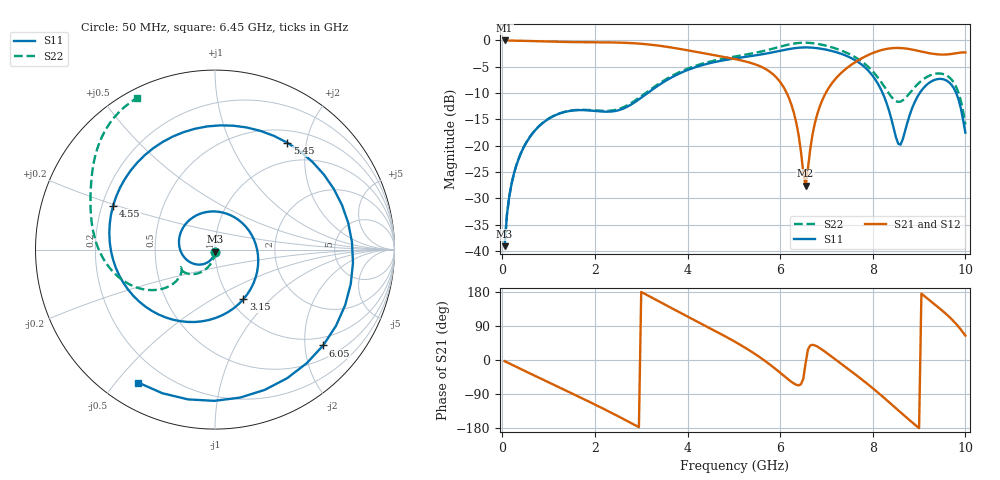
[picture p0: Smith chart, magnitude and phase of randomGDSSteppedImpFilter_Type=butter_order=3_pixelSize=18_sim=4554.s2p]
! freq	dB(S11)	phase(S11)	dB(S12)	phase(S12)
!  dB(S21)	phase(S21)	dB(S22)	phase(S22)
!S-par simulation data
#  GHz  S  DB  R 50
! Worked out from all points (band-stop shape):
!   200 points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, 50 MHz to 10 GHz, reference 50 ohm
!   highest |S21| = -0.01 dB at 50 MHz (marker M1); lowest = -27.6 dB at 6.55 GHz (marker M2)
!   |S21| within 3 dB of the highest: start of sweep to 4.704 GHz; 7.847 GHz to end of sweep
!   lowest |S11| = -39.1 dB at 50 MHz (marker M3), VSWR 1.02, Z = 49.9 - j1.11 ohm
!   |S11| at or under -10 dB: start of sweep to 3.138 GHz; 8.212 GHz to 9.015 GHz (802.5 MHz wide, 9.32 % of centre); 9.802 GHz to end of sweep
!   |S22| runs from -39.1 to -0.4 dB; largest |S21 - S12| = 0
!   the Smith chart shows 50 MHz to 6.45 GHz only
!   S11 on the Smith chart (normalised r, x): 50 MHz: 1.00, -0.02; 3.15 GHz: 1.14, -0.71; 4.55 GHz: 0.25, +0.19; 5.45 GHz: 0.68, +1.68; 6.05 GHz: 0.79, -2.41; 6.45 GHz: 0.10, -0.57
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0.05  -39.11 -92.8  -0.01 -3.0  -0.01 -3.0  -39.09 -91.1
0.2  -27.26 -105.3  -0.03 -12.0  -0.03 -12.0  -27.24 -98.5
0.5  -19.70 -128.7  -0.09 -29.7  -0.09 -29.7  -19.67 -111.5
1.75  -13.25 124.7  -0.34 -102.6  -0.34 -102.6  -13.19 -150.9
2.55  -13.16 22.3  -0.42 -151.5  -0.42 -151.5  -12.93 -146.1
3.15  -9.92 -60.4  -0.76 169.7  -0.76 169.7  -9.64 -141.5
3.4  -8.39 -89.4  -1.02 153.4  -1.02 153.4  -8.12 -145.2
4.55  -4.18 156.7  -2.76 79.6  -2.76 79.6  -3.89 -178.3
5.05  -3.38 105.0  -3.59 46.3  -3.59 46.3  -3.02 166.9
5.45  -2.87 55.9  -4.51 16.5  -4.51 16.5  -2.37 155.6
5.8  -2.33 3.0  -6.10 -14.0  -6.10 -14.0  -1.66 145.2
6.05  -1.88 -41.6  -8.54 -38.6  -8.54 -38.6  -1.07 136.1
6.45  -1.36 -120.0  -21.17 -64.0  -21.17 -64.0  -0.45 117.4
6.55  -1.33 -139.3  -27.63 -8.0  -27.63 -8.0  -0.43 112.2
6.7  -1.38 -167.1  -17.82 40.1  -17.82 40.1  -0.52 104.4
7.3  -2.49 97.7  -6.33 -8.3  -6.33 -8.3  -1.85 74.9
7.8  -4.89 29.1  -3.22 -54.8  -3.22 -54.8  -4.26 51.8
8.35  -13.32 -59.7  -1.54 -111.1  -1.54 -111.1  -10.10 43.2
8.6  -19.82 -163.4  -1.45 -138.1  -1.45 -138.1  -11.63 63.8
9.1  -9.00 73.4  -2.21 170.2  -2.21 170.2  -7.33 71.3
9.7  -8.44 7.6  -2.58 108.1  -2.58 108.1  -7.42 36.2
10  -17.53 13.7  -2.28 64.2  -2.28 64.2  -16.01 37.7
